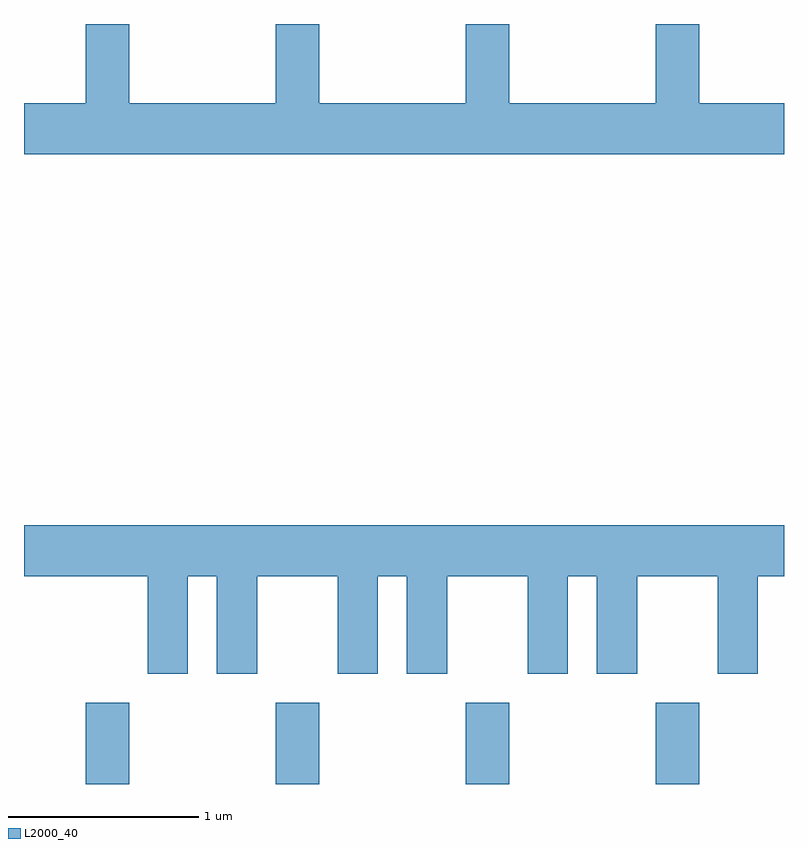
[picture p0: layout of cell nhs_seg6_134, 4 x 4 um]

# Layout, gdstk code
import gdstk
lib = gdstk.Library(unit=1e-6, precision=1e-09)
def R(c, l, rs):  # rectangles x0, y0, x1, y1
    for r in rs: c.add(gdstk.rectangle(r[:2], r[2:], *l))
def A(c, l, x, y, w, h, nx, ny, dx, dy):  # array of equal rectangles
    R(c, l, [(x+i*dx, y+j*dy, x+i*dx+w, y+j*dy+h) for i in range(nx) for j in range(ny)])
def P(c, l, *ps):  # polygons
    for p in ps: c.add(gdstk.Polygon(p, *l))
L2000_40 = (2000, 40)

nhs_seg6_134 = lib.new_cell('nhs_seg6_134')
A(nhs_seg6_134, L2000_40, 187.936, 1662.162, 0.228, 0.427, 4, 1, 1, 0)
P(nhs_seg6_134, L2000_40, [(191.611,1665.744),(191.164,1665.744),(191.164,1666.162),(190.936,1666.162),(190.936,1665.744),(190.164,1665.744),(190.164,1666.162),(189.936,1666.162),(189.936,1665.744),(189.164,1665.744),(189.164,1666.162),(188.936,1666.162),(188.936,1665.744),(188.164,1665.744),(188.164,1666.162),(187.936,1666.162),(187.936,1665.744),(187.611,1665.744),(187.611,1665.476),(191.611,1665.476)],
  [(188.474,1663.256),(188.626,1663.256),(188.626,1662.741),(188.839,1662.741),(188.839,1663.256),(189.261,1663.256),(189.261,1662.741),(189.474,1662.741),(189.474,1663.256),(189.626,1663.256),(189.626,1662.741),(189.839,1662.741),(189.839,1663.256),(190.261,1663.256),(190.261,1662.741),(190.474,1662.741),(190.474,1663.256),(190.626,1663.256),(190.626,1662.741),(190.839,1662.741),(190.839,1663.256),(191.261,1663.256),(191.261,1662.741),(191.474,1662.741),(191.474,1663.256),(191.611,1663.256),(191.611,1663.524),(187.611,1663.524),(187.611,1663.256),(188.261,1663.256),(188.261,1662.741),(188.474,1662.741)])

lib.write_gds('nhs_seg6_134.gds')
